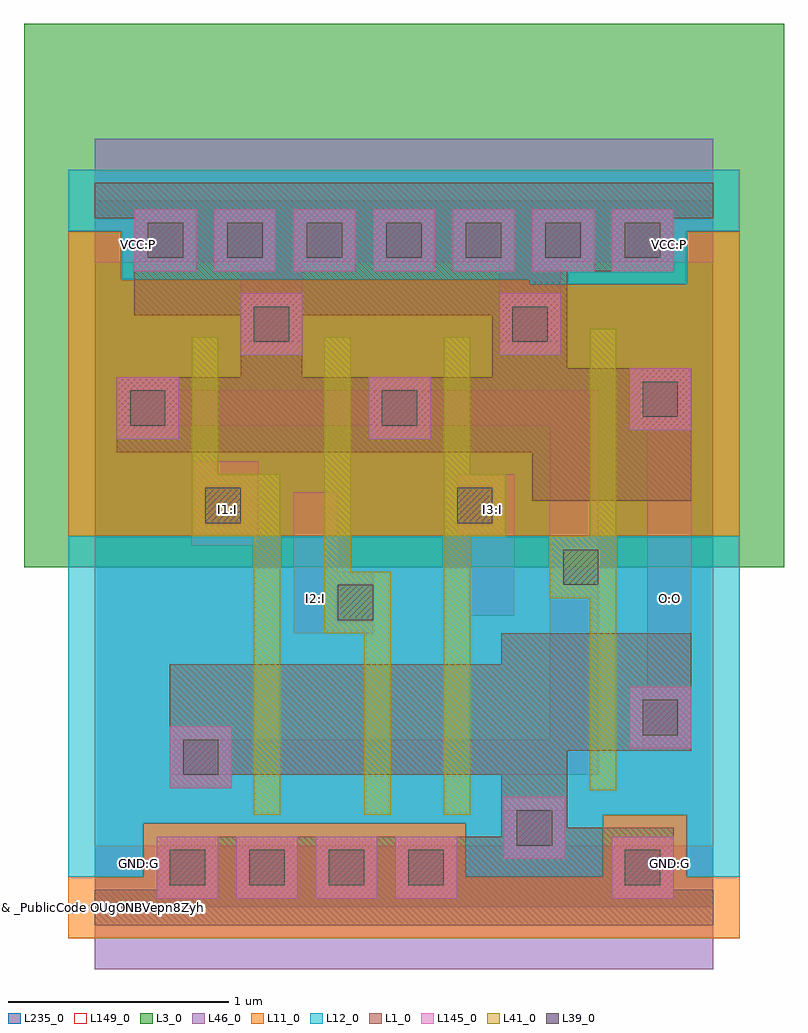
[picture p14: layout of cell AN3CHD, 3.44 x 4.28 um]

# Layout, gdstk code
from math import pi, radians
import gdstk
lib = gdstk.Library(unit=1e-6, precision=1e-09)
def R(c, l, rs):  # rectangles x0, y0, x1, y1
    for r in rs: c.add(gdstk.rectangle(r[:2], r[2:], *l))
def P(c, l, *ps):  # polygons
    for p in ps: c.add(gdstk.Polygon(p, *l))
L1_0 = (1, 0)
L3_0 = (3, 0)
L11_0 = (11, 0)
L12_0 = (12, 0)
L39_0 = (39, 0)
L41_0 = (41, 0)
L46_0 = (46, 0)
L145_0 = (145, 0)
L149_0 = (149, 0)
L235_0 = (235, 0)

c_pc = lib.new_cell('PC')
R(c_pc, L39_0, [(-0.08,-0.08,0.08,0.08)])
R(c_pc, L41_0, [(-0.14,-0.14,0.14,0.14)])
R(c_pc, L46_0, [(-0.08,-0.14,0.08,0.14)])

c_mc = lib.new_cell('MC')
R(c_mc, L39_0, [(-0.08,-0.08,0.08,0.08)])
R(c_mc, L46_0, [(-0.08,-0.14,0.08,0.14)])
R(c_mc, L145_0, [(-0.14,-0.14,0.14,0.14)])

lhlenmallkc__41gum4xw0 = lib.new_cell('LHLENMALLKC$$41Gum4XW0')
R(lhlenmallkc__41gum4xw0, L1_0, [(0,-0.08,2.8,0.08), (2.14,0.08,2.62,0.36), (0.1,2.06,0.66,2.4), (0,3.12,2.8,3.28)])
P(lhlenmallkc__41gum4xw0, L1_0, [(2.7,1.24),(1.84,1.24),(1.84,0.32),(0.28,0.32),(0.28,0.08),(2.14,0.08),(2.14,0.71),(2.7,0.71)],
  [(1.84,1.1),(0.34,1.1),(0.34,0.54),(0.62,0.54),(0.62,0.6),(1.84,0.6)],
  [(2.7,2.44),(2.14,2.44),(2.14,2.88),(2.62,2.88),(2.62,3.12),(1.8,3.12),(1.8,2.4),(0.94,2.4),(0.94,2.68),(1.8,2.68),(1.8,3.12),(0.18,3.12),(0.18,2.68),(0.66,2.68),(0.66,2.06),(1.98,2.06),(1.98,1.84),(2.7,1.84)])
R(lhlenmallkc__41gum4xw0, L3_0, [(-0.32,1.54,3.12,4)])
R(lhlenmallkc__41gum4xw0, L11_0, [(-0.12,-0.14,2.92,0.14), (0.22,0.14,1.68,0.38)])
P(lhlenmallkc__41gum4xw0, L11_0, [(2.92,3.06),(2.68,3.06),(2.68,2.82),(1.97,2.82),(1.97,2.84),(0.12,2.84),(0.12,3.06),(-0.12,3.06),(-0.12,1.68),(2.92,1.68)],
  [(2.92,0.14),(2.68,0.14),(2.68,0.42),(2.3,0.42),(2.3,0.14),(-0.12,0.14),(-0.12,-0.14),(2.92,-0.14)])
R(lhlenmallkc__41gum4xw0, L12_0, [(-0.12,3.06,2.92,3.34)])
P(lhlenmallkc__41gum4xw0, L12_0, [(2.92,1.68),(-0.12,1.68),(-0.12,0.14),(0.22,0.14),(0.22,0.38),(1.68,0.38),(1.68,0.14),(2.3,0.14),(2.3,0.42),(2.68,0.42),(2.68,0.14),(2.92,0.14)],
  [(2.68,3.06),(0.12,3.06),(0.12,2.84),(1.97,2.84),(1.97,2.82),(2.68,2.82)])
R(lhlenmallkc__41gum4xw0, L46_0, [(2.06,0.68,2.2,2.18), (0.44,1.64,0.74,2.02), (0.1,2.18,0.38,2.4), (0.66,2.56,0.94,2.92), (1.83,2.56,2.11,2.92)])
R(lhlenmallkc__41gum4xw0, L149_0, [(0,0,2.8,3.2)])
R(lhlenmallkc__41gum4xw0, L235_0, [(0,0,2.8,3.2), (0,0,2.8,3.2), (0,0,2.8,3.2), (0,0,2.8,3.2), (0,0,2.8,3.2), (0,0,2.8,3.2), (0,0,2.8,3.2), (0,0,2.8,3.2), (0,0,2.8,3.2), (0,0,2.8,3.2), (0,0,2.8,3.2), (0,0,2.8,3.2)])
lhlenmallkc__41gum4xw0.add(gdstk.FlexPath([(1,1.24),(1,1.88)], 0.2, ends="flush", simple_path=True, layer=46, datatype=0))  # L46_0
lhlenmallkc__41gum4xw0.add(gdstk.FlexPath([(0,0),(2.8,0)], 0.56, ends="flush", simple_path=True, layer=46, datatype=0))  # L46_0
lhlenmallkc__41gum4xw0.add(gdstk.FlexPath([(0,3.2),(2.8,3.2)], 0.56, ends="flush", simple_path=True, layer=46, datatype=0))  # L46_0
lhlenmallkc__41gum4xw0.add(gdstk.FlexPath([(1.8,1.32),(1.8,1.96)], 0.2, ends="flush", simple_path=True, layer=46, datatype=0))  # L46_0
lhlenmallkc__41gum4xw0.add(gdstk.FlexPath([(0.6,1.64),(0.6,2.02)], 0.2, ends="flush", simple_path=True, layer=46, datatype=0))  # L46_0
lhlenmallkc__41gum4xw0.add(gdstk.FlexPath([(2.6,0.72),(2.6,2.44)], 0.2, ends="flush", simple_path=True, layer=46, datatype=0))  # L46_0
lhlenmallkc__41gum4xw0.add(gdstk.FlexPath([(0.1,2.26),(2.2,2.26),(2.2,0.68),(0.34,0.68)], 0.16, ends="flush", simple_path=True, layer=46, datatype=0))  # L46_0
lhlenmallkc__41gum4xw0.add(gdstk.FlexPath([(0.2,0),(0.2,3.2)], 0, ends="flush", simple_path=True, layer=145, datatype=0))  # L145_0
lhlenmallkc__41gum4xw0.add(gdstk.FlexPath([(0.6,0),(0.6,3.2)], 0, ends="flush", simple_path=True, layer=145, datatype=0))  # L145_0
lhlenmallkc__41gum4xw0.add(gdstk.FlexPath([(1,0),(1,3.2)], 0, ends="flush", simple_path=True, layer=145, datatype=0))  # L145_0
lhlenmallkc__41gum4xw0.add(gdstk.FlexPath([(1.4,0),(1.4,3.2)], 0, ends="flush", simple_path=True, layer=145, datatype=0))  # L145_0
lhlenmallkc__41gum4xw0.add(gdstk.FlexPath([(1.8,0),(1.8,3.2)], 0, ends="flush", simple_path=True, layer=145, datatype=0))  # L145_0
lhlenmallkc__41gum4xw0.add(gdstk.FlexPath([(2.2,0),(2.2,3.2)], 0, ends="flush", simple_path=True, layer=145, datatype=0))  # L145_0
lhlenmallkc__41gum4xw0.add(gdstk.FlexPath([(2.6,0),(2.6,3.2)], 0, ends="flush", simple_path=True, layer=145, datatype=0))  # L145_0
lhlenmallkc__41gum4xw0.add(gdstk.FlexPath([(0,0.2),(2.8,0.2)], 0, ends="flush", simple_path=True, layer=145, datatype=0))  # L145_0
lhlenmallkc__41gum4xw0.add(gdstk.FlexPath([(0,0.6),(2.8,0.6)], 0, ends="flush", simple_path=True, layer=145, datatype=0))  # L145_0
lhlenmallkc__41gum4xw0.add(gdstk.FlexPath([(0,1),(2.8,1)], 0, ends="flush", simple_path=True, layer=145, datatype=0))  # L145_0
lhlenmallkc__41gum4xw0.add(gdstk.FlexPath([(0,1.4),(2.8,1.4)], 0, ends="flush", simple_path=True, layer=145, datatype=0))  # L145_0
lhlenmallkc__41gum4xw0.add(gdstk.FlexPath([(0,1.8),(2.8,1.8)], 0, ends="flush", simple_path=True, layer=145, datatype=0))  # L145_0
lhlenmallkc__41gum4xw0.add(gdstk.FlexPath([(0,2.2),(2.8,2.2)], 0, ends="flush", simple_path=True, layer=145, datatype=0))  # L145_0
lhlenmallkc__41gum4xw0.add(gdstk.FlexPath([(0,2.6),(2.8,2.6)], 0, ends="flush", simple_path=True, layer=145, datatype=0))  # L145_0
lhlenmallkc__41gum4xw0.add(gdstk.FlexPath([(0,3),(2.8,3)], 0, ends="flush", simple_path=True, layer=145, datatype=0))  # L145_0
lhlenmallkc__41gum4xw0.add(gdstk.FlexPath([(1.64,0.42),(1.64,2.58)], 0.12, ends="flush", simple_path=True, layer=41, datatype=0))  # L41_0
lhlenmallkc__41gum4xw0.add(gdstk.FlexPath([(1.1,2.58),(1.1,1.46),(1.28,1.46),(1.28,0.42)], 0.12, ends="flush", simple_path=True, layer=41, datatype=0))  # L41_0
lhlenmallkc__41gum4xw0.add(gdstk.FlexPath([(0.5,2.58),(0.5,1.9),(0.78,1.9),(0.78,0.42)], 0.12, ends="flush", simple_path=True, layer=41, datatype=0))  # L41_0
lhlenmallkc__41gum4xw0.add(gdstk.FlexPath([(2.3,0.53),(2.3,2.62)], 0.12, ends="flush", simple_path=True, layer=41, datatype=0))  # L41_0
r = gdstk.Reference(c_pc, (1.18,1.38)); r.repetition = gdstk.Repetition(1, 1, v1=(0.28,0), v2=(0,0.32)); lhlenmallkc__41gum4xw0.add(r)
r = gdstk.Reference(c_pc, (2.2,1.54)); r.repetition = gdstk.Repetition(1, 1, v1=(0.28,0), v2=(0,0.32)); lhlenmallkc__41gum4xw0.add(r)
r = gdstk.Reference(c_pc, (0.58,1.82)); r.repetition = gdstk.Repetition(1, 1, v1=(0.28,0), v2=(0,0.32)); lhlenmallkc__41gum4xw0.add(r)
r = gdstk.Reference(c_pc, (1.72,1.82)); r.repetition = gdstk.Repetition(1, 1, v1=(0.28,0), v2=(0,0.32)); lhlenmallkc__41gum4xw0.add(r)
r = gdstk.Reference(c_mc, (2.12,3.02), rotation=pi/2); r.repetition = gdstk.Repetition(1, 1, v1=(0,0.28), v2=(-0.32,0)); lhlenmallkc__41gum4xw0.add(r)
r = gdstk.Reference(c_mc, (2.56,2.3)); r.repetition = gdstk.Repetition(1, 1, v1=(0.28,0), v2=(0,0.32)); lhlenmallkc__41gum4xw0.add(r)
r = gdstk.Reference(c_mc, (1.4,3.02), rotation=pi/2); r.repetition = gdstk.Repetition(1, 1, v1=(0,0.28), v2=(-0.32,0)); lhlenmallkc__41gum4xw0.add(r)
r = gdstk.Reference(c_mc, (0.48,0.68), rotation=pi/2); r.repetition = gdstk.Repetition(1, 1, v1=(0,0.28), v2=(-0.32,0)); lhlenmallkc__41gum4xw0.add(r)
r = gdstk.Reference(c_mc, (2.56,0.86)); r.repetition = gdstk.Repetition(1, 1, v1=(0.28,0), v2=(0,0.32)); lhlenmallkc__41gum4xw0.add(r)
r = gdstk.Reference(c_mc, (2.48,3.02), rotation=pi/2); r.repetition = gdstk.Repetition(1, 1, v1=(0,0.28), v2=(-0.32,0)); lhlenmallkc__41gum4xw0.add(r)
r = gdstk.Reference(c_mc, (0.42,0.18), rotation=pi/2); r.repetition = gdstk.Repetition(1, 1, v1=(0,0.28), v2=(-0.32,0)); lhlenmallkc__41gum4xw0.add(r)
r = gdstk.Reference(c_mc, (1.99,0.36), rotation=pi/2); r.repetition = gdstk.Repetition(1, 1, v1=(0,0.28), v2=(-0.32,0)); lhlenmallkc__41gum4xw0.add(r)
r = gdstk.Reference(c_mc, (1.97,2.64), rotation=pi/2); r.repetition = gdstk.Repetition(1, 1, v1=(0,0.28), v2=(-0.32,0)); lhlenmallkc__41gum4xw0.add(r)
r = gdstk.Reference(c_mc, (0.24,2.26), rotation=pi/2); r.repetition = gdstk.Repetition(1, 1, v1=(0,0.28), v2=(-0.32,0)); lhlenmallkc__41gum4xw0.add(r)
r = gdstk.Reference(c_mc, (0.8,2.64), rotation=pi/2); r.repetition = gdstk.Repetition(1, 1, v1=(0,0.28), v2=(-0.32,0)); lhlenmallkc__41gum4xw0.add(r)
r = gdstk.Reference(c_mc, (0.32,3.02), rotation=pi/2); r.repetition = gdstk.Repetition(1, 1, v1=(0,0.28), v2=(-0.32,0)); lhlenmallkc__41gum4xw0.add(r)
r = gdstk.Reference(c_mc, (1.76,3.02), rotation=pi/2); r.repetition = gdstk.Repetition(1, 1, v1=(0,0.28), v2=(-0.32,0)); lhlenmallkc__41gum4xw0.add(r)
r = gdstk.Reference(c_mc, (1.04,3.02), rotation=pi/2); r.repetition = gdstk.Repetition(1, 1, v1=(0,0.28), v2=(-0.32,0)); lhlenmallkc__41gum4xw0.add(r)
r = gdstk.Reference(c_mc, (1.14,0.18), rotation=pi/2); r.repetition = gdstk.Repetition(1, 1, v1=(0,0.28), v2=(-0.32,0)); lhlenmallkc__41gum4xw0.add(r)
r = gdstk.Reference(c_mc, (1.5,0.18), rotation=pi/2); r.repetition = gdstk.Repetition(1, 1, v1=(0,0.28), v2=(-0.32,0)); lhlenmallkc__41gum4xw0.add(r)
r = gdstk.Reference(c_mc, (0.78,0.18), rotation=pi/2); r.repetition = gdstk.Repetition(1, 1, v1=(0,0.28), v2=(-0.32,0)); lhlenmallkc__41gum4xw0.add(r)
r = gdstk.Reference(c_mc, (0.68,3.02), rotation=pi/2); r.repetition = gdstk.Repetition(1, 1, v1=(0,0.28), v2=(-0.32,0)); lhlenmallkc__41gum4xw0.add(r)
r = gdstk.Reference(c_mc, (2.48,0.18), rotation=pi/2, x_reflection=True); r.repetition = gdstk.Repetition(1, 1, v1=(0,0.28), v2=(0.32,0)); lhlenmallkc__41gum4xw0.add(r)
r = gdstk.Reference(c_mc, (1.38,2.26), rotation=pi/2); r.repetition = gdstk.Repetition(1, 1, v1=(0,0.28), v2=(-0.32,0)); lhlenmallkc__41gum4xw0.add(r)
lhlenmallkc__41gum4xw0.add(gdstk.Label('#Id:7JQJaQKD4XF6RXVVSbbXNLABMd97ZL9aK99JL0306AKC574T4A3EOSP8MXXWHY99T6WBH22210RAL9', (0.02,0.02), layer=147, texttype=0))
lhlenmallkc__41gum4xw0.add(gdstk.Label('AN3CHD', (0,0), layer=144, texttype=0))
lhlenmallkc__41gum4xw0.add(gdstk.Label('VCC:P', (0.2,3), layer=101, texttype=0))
lhlenmallkc__41gum4xw0.add(gdstk.Label('VCC:P', (2.6,3), layer=101, texttype=0))
lhlenmallkc__41gum4xw0.add(gdstk.Label('GND:G', (0.2,0.2), layer=101, texttype=0))
lhlenmallkc__41gum4xw0.add(gdstk.Label('GND:G', (2.6,0.2), layer=101, texttype=0))
lhlenmallkc__41gum4xw0.add(gdstk.Label('I1:I', (0.6,1.8), layer=101, texttype=0))
lhlenmallkc__41gum4xw0.add(gdstk.Label('O:O', (2.6,1.4), layer=101, texttype=0))
lhlenmallkc__41gum4xw0.add(gdstk.Label('I3:I', (1.8,1.8), layer=101, texttype=0))
lhlenmallkc__41gum4xw0.add(gdstk.Label('I2:I', (1,1.4), layer=101, texttype=0))

an3chd = lib.new_cell('AN3CHD')
R(an3chd, L149_0, [(0,0,2.8,3.2)])
an3chd.add(gdstk.Reference(lhlenmallkc__41gum4xw0, (0,0)))
an3chd.add(gdstk.Label('& _PublicCode OUgONBVepn8Zyhuhb7nzKSFGv0ozQ4p7', (0,0), layer=3, texttype=0))
an3chd.add(gdstk.Label('& Metric 8.96', (0,0), layer=3, texttype=0))
an3chd.add(gdstk.Label('& Version 2009Q1V3.0', (0,0), layer=3, texttype=0))
an3chd.add(gdstk.Label('& Product FSC0H_D_GENERIC_CORE', (0,0), layer=3, texttype=0))
an3chd.add(gdstk.Label('& Vendor Faraday_Technology_Corp.', (0,0), layer=3, texttype=0))
an3chd.add(gdstk.Label('#Id:7JQJaQKD4XF6RXVVSbbXNLABMd97ZL9aK99JL0306AKC574T4A3EOSP8MXXWHY99T6WBH22210RAL9', (0.02,0.02), layer=147, texttype=0))
an3chd.add(gdstk.Label('AN3CHD', (0,0), layer=144, texttype=0))
an3chd.add(gdstk.Label('VCC:P', (0.2,3), layer=101, texttype=0))
an3chd.add(gdstk.Label('VCC:P', (2.6,3), layer=101, texttype=0))
an3chd.add(gdstk.Label('GND:G', (0.2,0.2), layer=101, texttype=0))
an3chd.add(gdstk.Label('GND:G', (2.6,0.2), layer=101, texttype=0))
an3chd.add(gdstk.Label('I1:I', (0.6,1.8), layer=101, texttype=0))
an3chd.add(gdstk.Label('O:O', (2.6,1.4), layer=101, texttype=0))
an3chd.add(gdstk.Label('I3:I', (1.8,1.8), layer=101, texttype=0))
an3chd.add(gdstk.Label('I2:I', (1,1.4), layer=101, texttype=0))

lib.write_gds('AN3CHD.gds')
